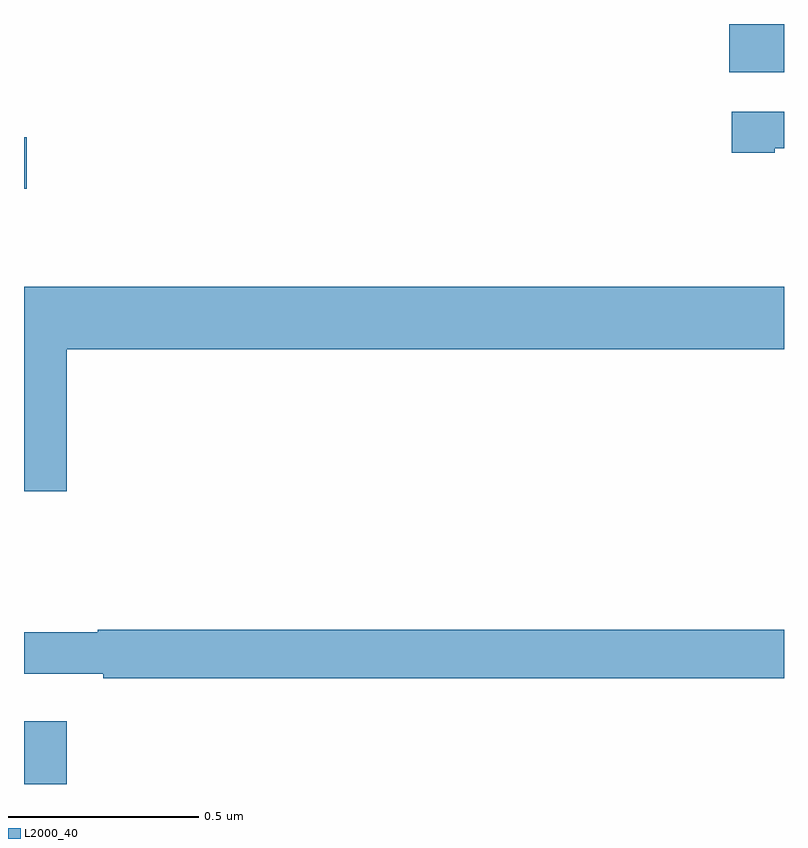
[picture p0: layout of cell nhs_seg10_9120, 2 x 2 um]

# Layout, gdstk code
import gdstk
lib = gdstk.Library(unit=1e-6, precision=1e-09)
def R(c, l, rs):  # rectangles x0, y0, x1, y1
    for r in rs: c.add(gdstk.rectangle(r[:2], r[2:], *l))
def P(c, l, *ps):  # polygons
    for p in ps: c.add(gdstk.Polygon(p, *l))
L2000_40 = (2000, 40)

nhs_seg10_9120 = lib.new_cell('nhs_seg10_9120')
R(nhs_seg10_9120, L2000_40, [(225,1304.5,225.112,1304.665), (225,1306.067,225.007,1306.202), (226.856,1306.373,227,1306.5)])
P(nhs_seg10_9120, L2000_40, [(226.975,1306.173),(227,1306.173),(227,1306.269),(226.863,1306.269),(226.863,1306.161),(226.975,1306.161)],
  [(225.112,1305.644),(227,1305.644),(227,1305.808),(225,1305.808),(225,1305.27),(225.112,1305.27)],
  [(227,1304.906),(225.194,1304.906),(225.194,1304.899),(225,1304.899),(225,1304.79),(225.208,1304.79),(225.208,1304.778),(227,1304.778)])

lib.write_gds('nhs_seg10_9120.gds')
